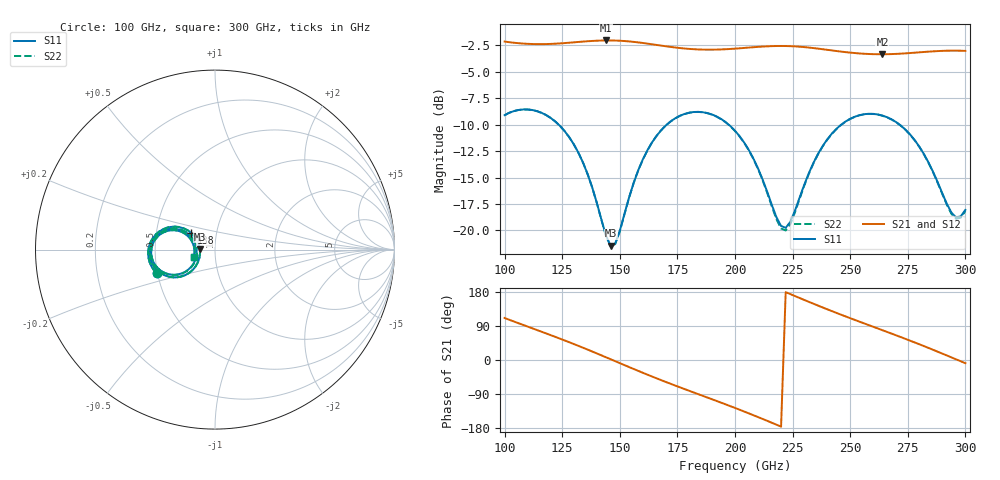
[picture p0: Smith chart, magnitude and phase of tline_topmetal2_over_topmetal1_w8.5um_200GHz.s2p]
#  GHZ S DB R 50
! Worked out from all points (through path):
!   101 points, 100 GHz to 300 GHz, reference 50 ohm
!   highest |S21| = -2.03 dB at 144 GHz (marker M1); lowest = -3.3 dB at 264 GHz (marker M2)
!   group delay of S21, straight-line fit = 6.67 ps
!   lowest |S11| = -21.4 dB at 146 GHz (marker M3), VSWR 1.19, Z = 42.2 + j0.291 ohm
!   |S11| at or under -10 dB: 123.5 GHz to 170.4 GHz (46.88 GHz wide, 31.9 % of centre); 197.3 GHz to 246.1 GHz (48.82 GHz wide, 22 % of centre); 271.5 GHz to end of sweep
!   |S22| runs from -21.5 to -8.6 dB; largest |S21 - S12| = 8.4e-14
!   S11 on the Smith chart (normalised r, x): 100 GHz: 0.49, -0.15; 138 GHz: 0.76, +0.14; 300 GHz: 0.79, -0.06
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100  -9.10 -158.0  -2.14 110.9  -2.14 110.9  -9.10 -158.1
118  -9.09 169.2  -2.37 70.2  -2.37 70.2  -9.09 169.0
134  -13.57 145.8  -2.14 32.4  -2.14 32.4  -13.57 145.6
138  -15.92 145.0  -2.08 22.5  -2.08 22.5  -15.93 144.8
144  -20.49 162.5  -2.03 7.2  -2.03 7.2  -20.53 162.2
146  -21.44 177.7  -2.03 2.0  -2.03 2.0  -21.49 177.5
148  -21.25 -165.2  -2.04 -3.1  -2.04 -3.1  -21.30 -165.3
156  -15.51 -137.6  -2.16 -23.7  -2.16 -23.7  -15.53 -137.7
168  -10.51 -149.5  -2.52 -53.2  -2.52 -53.2  -10.52 -149.6
184  -8.78 -176.1  -2.88 -90.0  -2.88 -90.0  -8.79 -176.3
200  -10.57 158.6  -2.80 -126.5  -2.80 -126.5  -10.59 158.1
212  -15.19 149.8  -2.61 -155.6  -2.61 -155.6  -15.27 149.0
218  -18.76 163.4  -2.56 -170.7  -2.56 -170.7  -18.95 162.6
222  -19.76 -173.3  -2.56 179.0  -2.56 179.0  -20.01 -173.3
234  -13.63 -143.4  -2.75 148.6  -2.75 148.6  -13.69 -142.9
248  -9.70 -159.7  -3.13 115.0  -3.13 115.0  -9.71 -159.4
264  -9.14 175.4  -3.34 78.6  -3.34 78.6  -9.15 175.4
268  -9.50 169.3  -3.32 69.5  -3.32 69.5  -9.51 169.3
278  -11.46 156.2  -3.19 46.3  -3.19 46.3  -11.48 156.1
286  -14.47 152.2  -3.06 26.8  -3.06 26.8  -14.52 151.9
294  -18.33 169.5  -2.99 6.7  -2.99 6.7  -18.45 169.3
300  -18.06 -161.3  -3.02 -8.5  -3.02 -8.5  -18.17 -161.0
